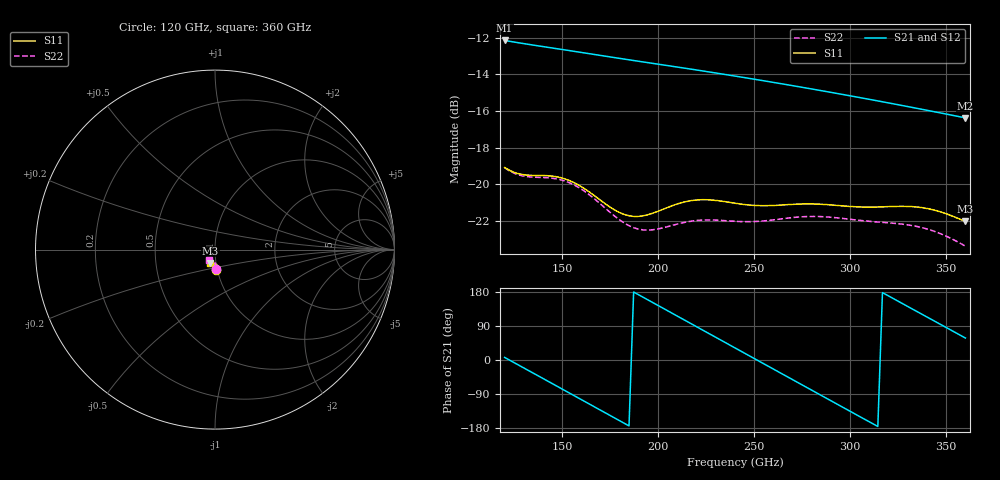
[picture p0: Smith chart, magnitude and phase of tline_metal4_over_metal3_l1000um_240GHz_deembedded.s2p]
! Created with skrf 2.0.1 (http://scikit-rf.org).
# GHz S DB R 50.0
!freq dBS11 angS11 dBS21 angS21 dBS12 angS12 dBS22 angS22
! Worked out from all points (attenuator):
!   101 points, 120 GHz to 360 GHz, reference 50 ohm
!   highest |S21| = -12.14 dB at 120 GHz (marker M1); lowest = -16.4 dB at 360 GHz (marker M2)
!   lowest |S11| = -22.0 dB at 360 GHz (marker M3), VSWR 1.17, Z = 46.9 - j7.03 ohm
!   |S11| at or under -10 dB: start of sweep to end of sweep
!   |S22| runs from -23.4 to -19.1 dB; largest |S21 - S12| = 2e-13
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120  -19.08 -85.8  -12.14 6.8  -12.14 6.8  -19.10 -87.4
129.6  -19.47 -83.7  -12.31 -19.9  -12.31 -19.9  -19.54 -85.5
141.6  -19.53 -84.0  -12.50 -53.3  -12.50 -53.3  -19.64 -86.0
151.2  -19.70 -86.6  -12.66 -80.1  -12.66 -80.1  -19.81 -89.1
160.8  -20.18 -89.5  -12.81 -106.9  -12.81 -106.9  -20.32 -92.7
172.8  -21.09 -90.4  -13.01 -140.4  -13.01 -140.4  -21.34 -95.0
182.4  -21.65 -87.9  -13.16 -167.2  -13.16 -167.2  -22.12 -93.6
192  -21.72 -84.6  -13.31 166.0  -13.31 166.0  -22.49 -90.3
201.6  -21.40 -83.0  -13.47 139.2  -13.47 139.2  -22.40 -87.8
211.2  -21.03 -83.9  -13.62 112.4  -13.62 112.4  -22.14 -87.5
220.8  -20.85 -86.3  -13.77 85.6  -13.77 85.6  -21.97 -88.9
240  -21.03 -90.6  -14.09 31.9  -14.09 31.9  -22.02 -92.0
249.6  -21.15 -91.4  -14.25 5.1  -14.25 5.1  -22.03 -92.9
259.2  -21.16 -92.1  -14.42 -21.7  -14.42 -21.7  -21.95 -94.0
271.2  -21.09 -93.6  -14.63 -55.2  -14.63 -55.2  -21.80 -96.4
280.8  -21.07 -95.3  -14.81 -81.9  -14.81 -81.9  -21.75 -99.0
290.4  -21.13 -97.0  -14.99 -108.7  -14.99 -108.7  -21.80 -101.7
302.4  -21.22 -98.7  -15.21 -142.1  -15.21 -142.1  -21.94 -104.7
312  -21.24 -99.8  -15.40 -168.8  -15.40 -168.8  -22.04 -106.9
321.6  -21.21 -101.3  -15.59 164.5  -15.59 164.5  -22.12 -109.3
340.8  -21.34 -106.0  -15.97 111.2  -15.97 111.2  -22.46 -115.5
360  -22.03 -109.7  -16.37 58.0  -16.37 58.0  -23.38 -120.9
